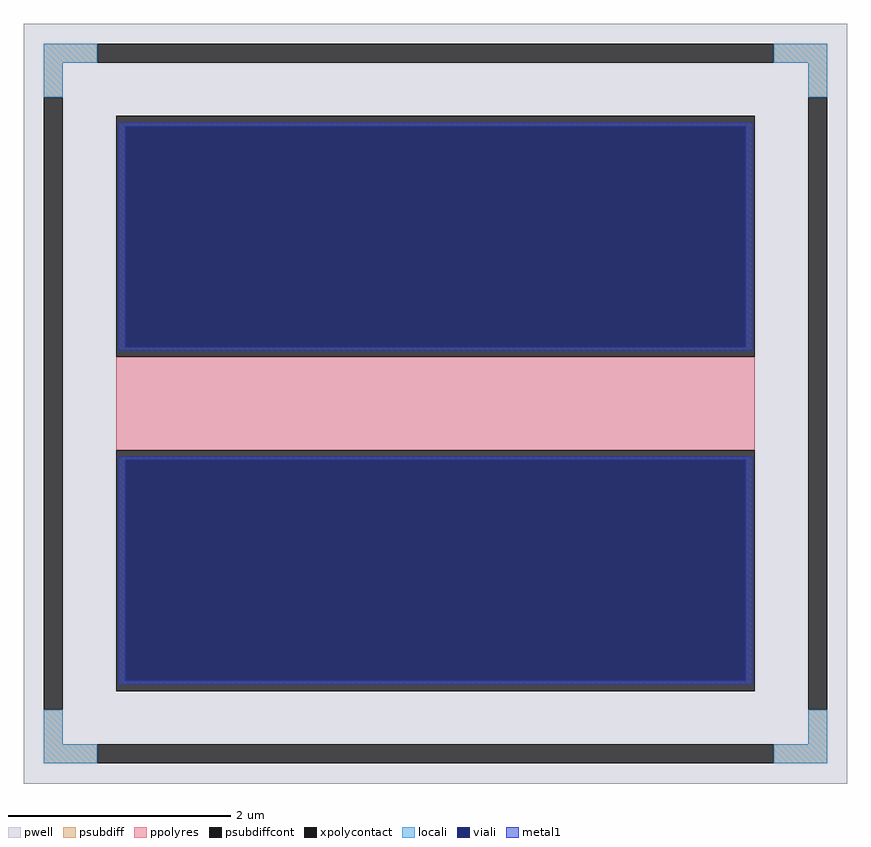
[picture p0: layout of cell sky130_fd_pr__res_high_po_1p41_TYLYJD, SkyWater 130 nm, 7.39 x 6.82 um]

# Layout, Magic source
magic
tech sky130A
magscale 1 2
<< pwell >>
rect -739 -682 739 682
<< psubdiff >>
rect -703 612 -607 646
rect 607 612 703 646
rect -703 550 -669 612
rect 669 550 703 612
rect -703 -612 -669 -550
rect 669 -612 703 -550
rect -703 -646 -607 -612
rect 607 -646 703 -612
<< psubdiffcont >>
rect -607 612 607 646
rect -703 -550 -669 550
rect 669 -550 703 550
rect -607 -646 607 -612
<< xpolycontact >>
rect -573 84 573 516
rect -573 -516 573 -84
<< ppolyres >>
rect -573 -84 573 84
<< locali >>
rect -703 612 -607 646
rect 607 612 703 646
rect -703 550 -669 612
rect 669 550 703 612
rect -703 -612 -669 -550
rect 669 -612 703 -550
rect -703 -646 -607 -612
rect 607 -646 703 -612
<< viali >>
rect -557 101 557 498
rect -557 -498 557 -101
<< metal1 >>
rect -569 498 569 504
rect -569 101 -557 498
rect 557 101 569 498
rect -569 95 569 101
rect -569 -101 569 -95
rect -569 -498 -557 -101
rect 557 -498 569 -101
rect -569 -504 569 -498
<< properties >>
string FIXED_BBOX -686 -629 686 629
string gencell sky130_fd_pr__res_high_po_1p41
string library sky130
string parameters w 5.730 l 1 m 1 nx 1 wmin 5.730 lmin 0.50 class resistor rho 319.8 val 123.811 dummy 0 dw 0.0 term 194.82 sterm 0.0 caplen 0 guard 1 glc 1 grc 1 gtc 1 gbc 1 compatible {sky130_fd_pr__res_high_po_0p35  sky130_fd_pr__res_high_po_0p69 sky130_fd_pr__res_high_po_1p41  sky130_fd_pr__res_high_po_2p85 sky130_fd_pr__res_high_po_5p73} snake 0 full_metal 1 wmax 5.730 n_guard 0 hv_guard 0 vias 1 viagb 0 viagt 0 viagl 0 viagr 0
<< end >>
